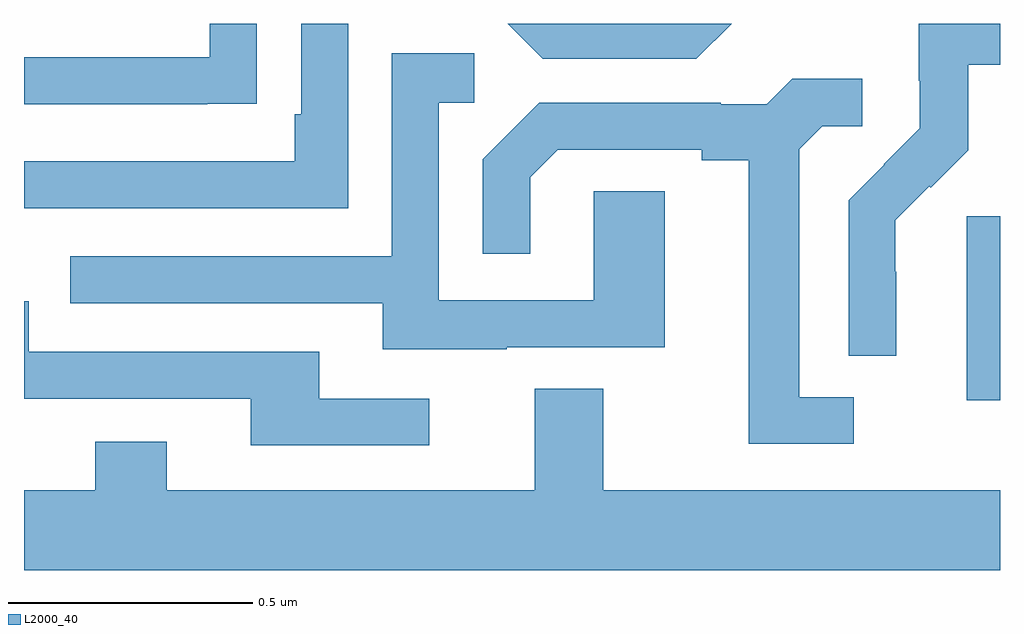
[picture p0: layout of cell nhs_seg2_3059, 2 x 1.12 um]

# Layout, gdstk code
import gdstk
lib = gdstk.Library(unit=1e-6, precision=1e-09)
def R(c, l, rs):  # rectangles x0, y0, x1, y1
    for r in rs: c.add(gdstk.rectangle(r[:2], r[2:], *l))
def P(c, l, *ps):  # polygons
    for p in ps: c.add(gdstk.Polygon(p, *l))
L2000_40 = (2000, 40)

nhs_seg2_3059 = lib.new_cell('nhs_seg2_3059')
R(nhs_seg2_3059, L2000_40, [(150.932,604.028,151,604.405)])
P(nhs_seg2_3059, L2000_40, [(149.664,604.8),(149.568,604.8),(149.568,604.615),(149.555,604.615),(149.555,604.518),(149,604.518),(149,604.422),(149.664,604.422)],
  [(150.45,604.8),(149.991,604.8),(150.063,604.728),(150.378,604.728)],
  [(150.787,604.292),(150.785,604.292),(150.785,604.397),(150.855,604.467),(150.858,604.464),(150.935,604.541),(150.935,604.716),(151,604.716),(151,604.8),(150.834,604.8),(150.834,604.683),(150.836,604.683),(150.836,604.586),(150.762,604.512),(150.763,604.511),(150.69,604.438),(150.69,604.12),(150.787,604.12)],
  [(149.375,604.636),(149.477,604.636),(149.477,604.8),(149.381,604.8),(149.381,604.731),(149,604.731),(149,604.635),(149.375,604.635)],
  [(149.989,604.137),(150.313,604.137),(150.313,604.457),(150.168,604.457),(150.168,604.233),(149.85,604.233),(149.85,604.638),(149.923,604.638),(149.923,604.739),(149.754,604.739),(149.754,604.323),(149.095,604.323),(149.095,604.227),(149.735,604.227),(149.735,604.133),(149.989,604.133)],
  [(150.7,604.035),(150.589,604.035),(150.589,604.543),(150.636,604.59),(150.718,604.59),(150.718,604.687),(150.574,604.687),(150.522,604.635),(150.428,604.635),(150.428,604.638),(150.056,604.638),(149.94,604.522),(149.94,604.329),(150.037,604.329),(150.037,604.485),(150.094,604.542),(150.389,604.542),(150.389,604.52),(150.485,604.52),(150.485,603.939),(150.7,603.939)],
  [(149.83,604.032),(149.605,604.032),(149.605,604.128),(149.01,604.128),(149.01,604.231),(149,604.231),(149,604.032),(149.465,604.032),(149.465,603.936),(149.83,603.936)],
  [(151,603.844),(150.187,603.844),(150.187,604.052),(150.047,604.052),(150.047,603.844),(149.293,603.844),(149.293,603.943),(149.146,603.943),(149.146,603.844),(149,603.844),(149,603.68),(151,603.68)])

lib.write_gds('nhs_seg2_3059.gds')
